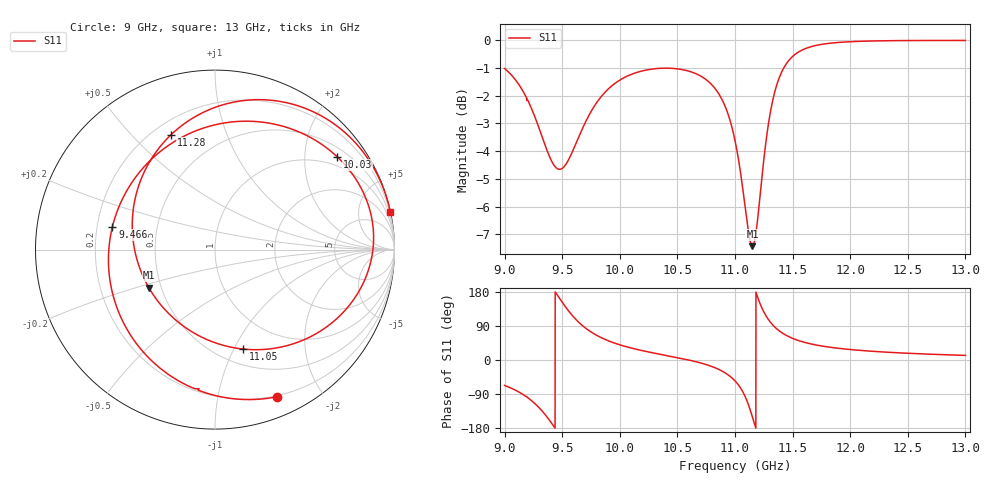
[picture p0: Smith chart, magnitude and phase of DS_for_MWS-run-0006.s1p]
! TOUCHSTONE file generated by CST DESIGN STUDIO
! Date and time: Tue Feb  4 18:08:17 2025
! Project name: C:\Work\MatlabApps\UnitCellOptimizationMatlab\CST\unitcell.cst
! Tree item: Tasks\Sweep1\SPara1\S-Parameters
! Header version: 2024
! Port assignment regex: !\s*Touchstone port\s*([0-9]+)\s*=\s*(CST MWS port|CST DES external port|CST DES block port)\s*(.+)\s* \(\"(.*)\"\)(\s*mode\s*([0-9]+))?.*
! Touchstone port assignment:
! Touchstone port 1 = CST DES external port 1 ("")
# GHz S MA R 50
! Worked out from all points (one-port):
!   4001 points, 9 GHz to 13 GHz, reference 50 ohm
!   lowest |S11| = -7.4 dB at 11.15 GHz (marker M1), VSWR 2.48, Z = 21.3 - j11 ohm
!   |S11| at or under -10 dB: nowhere
!   S11 on the Smith chart (normalised r, x): 9 GHz: 0.19, -1.49; 9.466 GHz: 0.26, +0.10; 10.03 GHz: 0.73, +2.80; 11.05 GHz: 0.66, -1.09; 11.28 GHz: 0.27, +0.65; 13 GHz: 0.03, +9.40
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9  0.8893 -67.2
9.141  0.8215 -87.5
9.247  0.7416 -110.7
9.37  0.6315 -151.1
9.466  0.5856 167.5
9.5  0.5874 152.4
9.594  0.6333 115.2
9.692  0.7048 86.7
9.838  0.7912 59.1
10  0.8476 40.0
10.031  0.8548 37.2
10.243  0.8848 21.6
10.5  0.8882 6.2
10.681  0.8665 -6.1
10.816  0.8237 -19.1
10.917  0.7577 -34.4
11  0.6596 -55.1
11.049  0.5753 -74.3
11.101  0.4759 -105.6
11.151  0.4252 -150.2
11.211  0.5079 153.7
11.281  0.6857 110.8
11.366  0.8353 81.3
11.5  0.9351 57.0
11.694  0.9779 40.2
12  0.9941 27.6
12.5  0.999 17.7
13  0.9993 12.1
